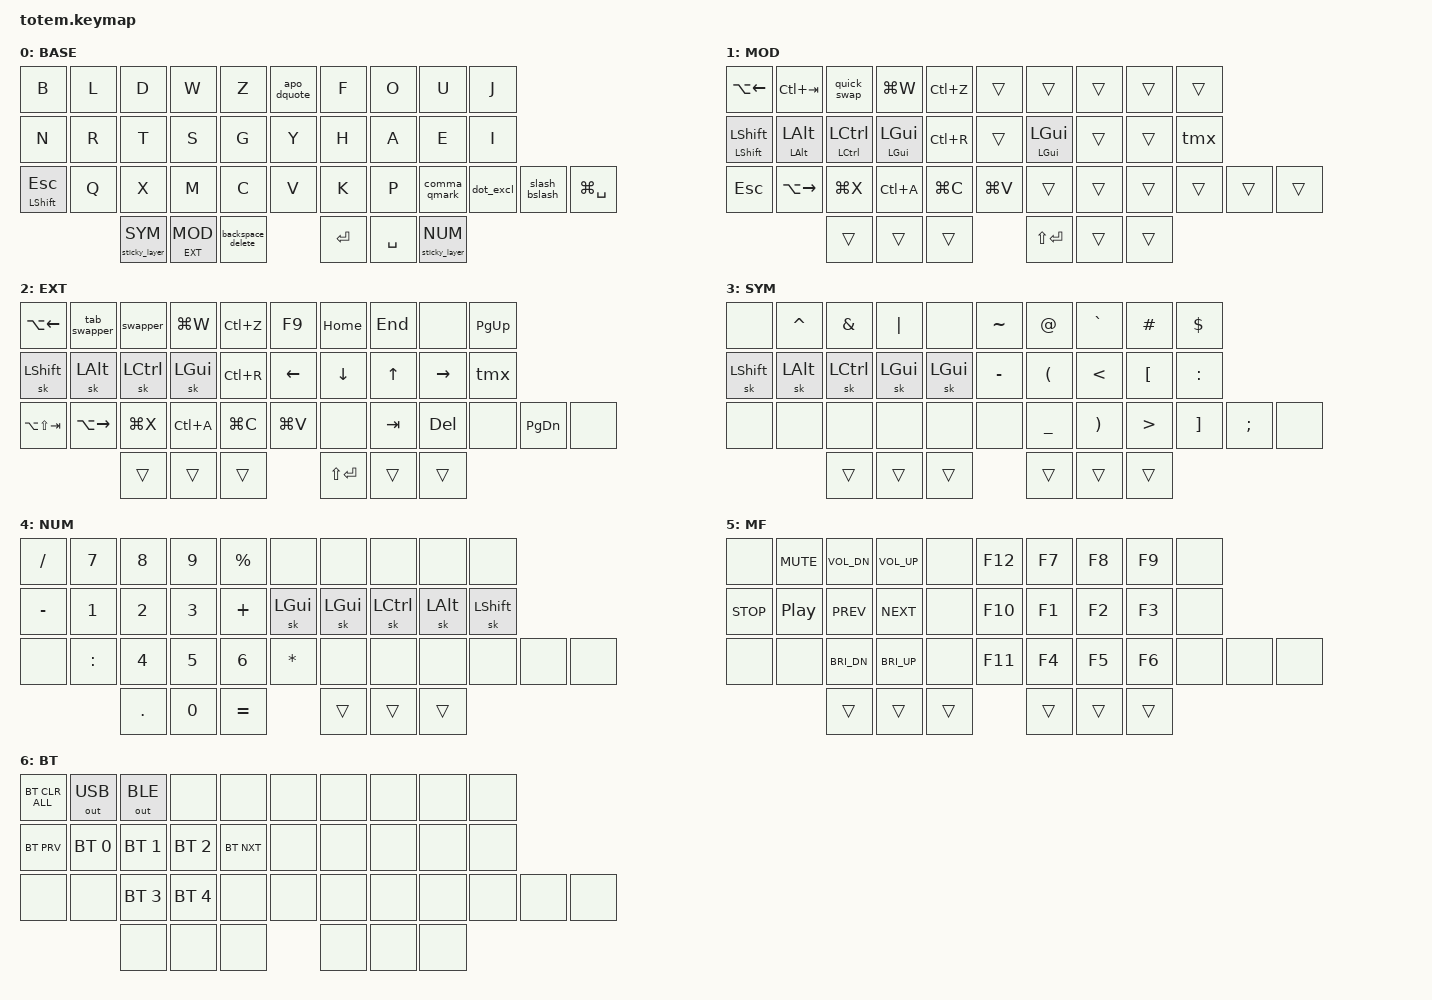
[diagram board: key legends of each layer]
//
// Totem layout refresh:
// - Graphite base
// - Dedicated MOD layer instead of base home row mods
// - Hold EXT for navigation/editing, tap EXT for sticky MOD
// - EXT left hand: one-handed mouse companion (swapper, history, clipboard),
//   mirrored on MOD so tap-then-key one-shots the same shortcuts
// - Far-left Shift: tap Escape, hold Shift
// - Dedicated Backspace, Enter, and Space; sticky-tap/held SYM and NUM
// - Shift + Backspace sends Delete
// - Delete stays on the EXT comma position
// - Symbols prioritized for markup and writing
// - SYM + NUM opens the shared media/function layer
// - MOD/EXT + NUM opens the BT layer

#include <behaviors.dtsi>
#include <dt-bindings/zmk/keys.h>
#include <dt-bindings/zmk/bt.h>
#include <dt-bindings/zmk/outputs.h>

#define BASE 0
#define MOD  1
#define EXT  2
#define SYM  3
#define NUM  4
#define MF   5
#define BT   6

/ {
    behaviors {
        apo_dquote: apostrophe_doublequote {
            compatible = "zmk,behavior-mod-morph";
            #binding-cells = <0>;
            bindings = <&kp SQT>, <&kp DQT>;
            mods = <(MOD_LSFT|MOD_RSFT)>;
        };

        comma_qmark: comma_question_mark {
            compatible = "zmk,behavior-mod-morph";
            #binding-cells = <0>;
            bindings = <&kp COMMA>, <&kp QMARK>;
            mods = <(MOD_LSFT|MOD_RSFT)>;
        };

        dot_excl: dot_exclamation {
            compatible = "zmk,behavior-mod-morph";
            #binding-cells = <0>;
            bindings = <&kp DOT>, <&kp EXCL>;
            mods = <(MOD_LSFT|MOD_RSFT)>;
        };

        slash_bslash: slash_backslash {
            compatible = "zmk,behavior-mod-morph";
            #binding-cells = <0>;
            bindings = <&kp FSLH>, <&kp BSLH>;
            mods = <(MOD_LSFT|MOD_RSFT)>;
        };

        backspace_delete: backspace_delete {
            compatible = "zmk,behavior-mod-morph";
            #binding-cells = <0>;
            bindings = <&kp BSPC>, <&kp DEL>;
            mods = <(MOD_LSFT|MOD_RSFT)>;
        };

        hm: hybrid_mod {
            compatible = "zmk,behavior-hold-tap";
            #binding-cells = <2>;
            flavor = "tap-preferred";
            tapping-term-ms = <300>;
            quick-tap-ms = <175>;
            bindings = <&kp>, <&sk>;
            retro-tap;
        };

        ext_mod: ext_or_mod {
            compatible = "zmk,behavior-hold-tap";
            #binding-cells = <2>;
            flavor = "balanced";
            tapping-term-ms = <200>;
            quick-tap-ms = <175>;
            bindings = <&mo>, <&sl>;
            retro-tap;
        };

        // Alt-Tab window switcher: holds Alt across taps, released on
        // interrupt (any other key or leaving EXT). Sticky Shift (pos 10)
        // is ignored so it can reverse-cycle without dropping Alt.
        swapper: swapper {
            compatible = "zmk,behavior-tri-state";
            #binding-cells = <0>;
            bindings = <&kt LALT>, <&kp TAB>, <&kt LALT>;
            ignored-key-positions = <10>;
        };

        // Ctrl-Tab tab switcher: same tri-state as swapper but holds Ctrl,
        // so taps cycle tabs while the browser switcher stays up. Sticky
        // Shift (pos 10) is ignored so it can reverse-cycle (Ctrl+Shift+Tab).
        tab_swapper: tab_swapper {
            compatible = "zmk,behavior-tri-state";
            #binding-cells = <0>;
            bindings = <&kt LCTRL>, <&kp TAB>, <&kt LCTRL>;
            ignored-key-positions = <10>;
        };

        // Escape is a discrete tap; Shift resolves as soon as a chord starts.
        esc_shift: escape_or_shift {
            compatible = "zmk,behavior-hold-tap";
            #binding-cells = <2>;
            flavor = "hold-preferred";
            tapping-term-ms = <150>;
            bindings = <&kp>, <&kp>;
        };

        // SYM/NUM activate immediately, stay sticky when tapped, and behave
        // momentarily when a non-modifier is pressed while held. Modifier
        // presses do not consume the sticky layer, allowing e.g. tap NUM,
        // tap Ctrl+Shift, then tap 1.
        sticky_layer: sticky_or_held_layer {
            compatible = "zmk,behavior-sticky-key";
            #binding-cells = <1>;
            release-after-ms = <1000>;
            bindings = <&mo>;
            quick-release;
            ignore-modifiers;
        };
    };

    macros {
        // Instant switch to the previous window: Alt is released right away so
        // the window switcher UI never stays open (unlike the tri-state swapper).
        quick_swap: quick_window_swap {
            compatible = "zmk,behavior-macro";
            #binding-cells = <0>;
            bindings = <&macro_press &kp LALT>,
                       <&macro_tap &kp TAB>,
                       <&macro_release &kp LALT>;
        };

        tmx: tmux_prefix {
            compatible = "zmk,behavior-macro";
            #binding-cells = <0>;
            bindings = <&macro_press &kp LCTRL>,
                       <&macro_tap &kp SPACE>,
                       <&macro_release &kp LCTRL>;
        };
    };

    combos {
        compatible = "zmk,combos";

        combo_word_left {
            timeout-ms = <50>;
            key-positions = <16 17>;
            bindings = <&kp LC(LEFT)>;
            layers = <EXT>;
        };

        combo_word_right {
            timeout-ms = <50>;
            key-positions = <17 18>;
            bindings = <&kp LC(RIGHT)>;
            layers = <EXT>;
        };

        // Keep parentheses, angle brackets, and square brackets on direct keys.
        // Braces use the same index-middle fingers: openings above, closings below.
        combo_sym_lbrc {
            timeout-ms = <50>;
            key-positions = <16 17>;
            bindings = <&kp LBRC>;
            layers = <SYM>;
        };

        combo_sym_rbrc {
            timeout-ms = <50>;
            key-positions = <27 28>;
            bindings = <&kp RBRC>;
            layers = <SYM>;
        };

        // The mirrored outer layer thumbs open Media/Function together.
        combo_mf_layer_thumbs {
            timeout-ms = <100>;
            key-positions = <32 37>;
            bindings = <&mo MF>;
            layers = <BASE>;
        };

        // MOD/EXT + the right outer NUM key is reserved for maintenance.
        combo_bt {
            timeout-ms = <100>;
            key-positions = <33 37>;
            bindings = <&mo BT>;
            layers = <BASE>;
        };

    };

    keymap {
        compatible = "zmk,keymap";

        base_layer {
            label = "BASE";
            bindings = <
                &kp B        &kp L        &kp D        &kp W        &kp Z            &apo_dquote  &kp F          &kp O          &kp U          &kp J
                &kp N        &kp R        &kp T        &kp S        &kp G            &kp Y        &kp H          &kp A          &kp E          &kp I
                &esc_shift LSHFT ESC &kp Q        &kp X        &kp M        &kp C            &kp V        &kp K          &kp P          &comma_qmark   &dot_excl     &slash_bslash &kp LG(SPACE)
                                             &sticky_layer SYM &ext_mod EXT MOD &backspace_delete &kp RET &kp SPACE &sticky_layer NUM
            >;
        };

        // Left-hand editing shortcuts mirror EXT at the same positions so
        // tap-then-key one-shots them. SWAP's position gets quick_swap
        // instead: the tri-state can't cycle from a sticky layer.
        mod_layer {
            label = "MOD";
            bindings = <
                &kp LA(LEFT)  &kp LC(TAB)  &quick_swap  &kp LG(W)    &kp LC(Z)        &trans       &trans         &trans         &trans         &trans
                &hm LSHFT LSHFT &hm LALT LALT &hm LCTRL LCTRL &hm LGUI LGUI &kp LC(R) &trans &hm LGUI LGUI &trans       &trans         &tmx
                &kp ESC       &kp LA(RIGHT) &kp LG(X)    &kp LC(A)    &kp LG(C)        &kp LG(V)    &trans         &trans         &trans         &trans       &trans        &trans
                                             &trans      &trans          &trans         &kp LS(RET)        &trans           &trans
            >;
        };

        ext_layer {
            label = "EXT";
            bindings = <
                &kp LA(LEFT)  &tab_swapper &swapper     &kp LG(W)    &kp LC(Z)        &kp F9       &kp HOME       &kp END        &none          &kp PG_UP
                &sk LSHFT     &sk LALT     &sk LCTRL    &sk LGUI     &kp LC(R)        &kp LEFT     &kp DOWN       &kp UP         &kp RIGHT      &tmx
                &kp LA(LS(TAB)) &kp LA(RIGHT) &kp LG(X)  &kp LC(A)    &kp LG(C)        &kp LG(V)    &none          &kp TAB        &kp DEL        &none         &kp PG_DN     &none
                                             &trans       &trans          &trans         &kp LS(RET)       &trans           &trans
            >;
        };

        sym_layer {
            label = "SYM";
            bindings = <
                &none         &kp CARET    &kp AMPS     &kp PIPE     &none            &kp TILDE    &kp AT         &kp GRAVE      &kp HASH       &kp DLLR
                &sk LSHFT     &sk LALT     &sk LCTRL    &sk LGUI     &sk LGUI         &kp MINUS    &kp LPAR       &kp LT         &kp LBKT       &kp COLON
                &none         &none        &none        &none        &none            &none        &kp UNDER      &kp RPAR       &kp GT         &kp RBKT      &kp SEMI      &none
                                             &trans       &trans          &trans         &trans             &trans            &trans
            >;
        };

        num_layer {
            label = "NUM";
            bindings = <
                &kp FSLH      &kp N7       &kp N8       &kp N9       &kp PRCNT        &none        &none          &none          &none          &none
                &kp MINUS     &kp N1       &kp N2       &kp N3       &kp PLUS         &sk LGUI      &sk LGUI      &sk LCTRL     &sk LALT      &sk LSHFT
                &none         &kp COLON    &kp N4       &kp N5       &kp N6           &kp ASTRK    &none          &none          &none          &none        &none         &none
                                             &kp DOT      &kp N0         &kp EQUAL      &trans             &trans            &trans
            >;
        };

        mf_layer {
            label = "MF";
            bindings = <
                &none         &kp C_MUTE    &kp C_VOL_DN &kp C_VOL_UP &none           &kp F12       &kp F7         &kp F8         &kp F9         &none
                &kp C_STOP    &kp C_PP      &kp C_PREV   &kp C_NEXT   &none           &kp F10       &kp F1         &kp F2         &kp F3         &none
                &none         &none         &kp C_BRI_DN &kp C_BRI_UP &none           &kp F11       &kp F4         &kp F5         &kp F6         &none        &none         &none
                                             &trans       &trans        &trans         &trans              &trans            &trans
            >;
        };

        bt_layer {
            label = "BT";
            bindings = <
                &bt BT_CLR_ALL &out OUT_USB  &out OUT_BLE &none        &none           &none         &none          &none          &none          &none
                &bt BT_PRV    &bt BT_SEL 0  &bt BT_SEL 1 &bt BT_SEL 2 &bt BT_NXT      &none         &none          &none          &none          &none
                &none         &none         &bt BT_SEL 3 &bt BT_SEL 4 &none           &none         &none          &none          &none          &none        &none         &none
                                             &none        &none         &none          &none               &none             &none
            >;
        };
    };
};
